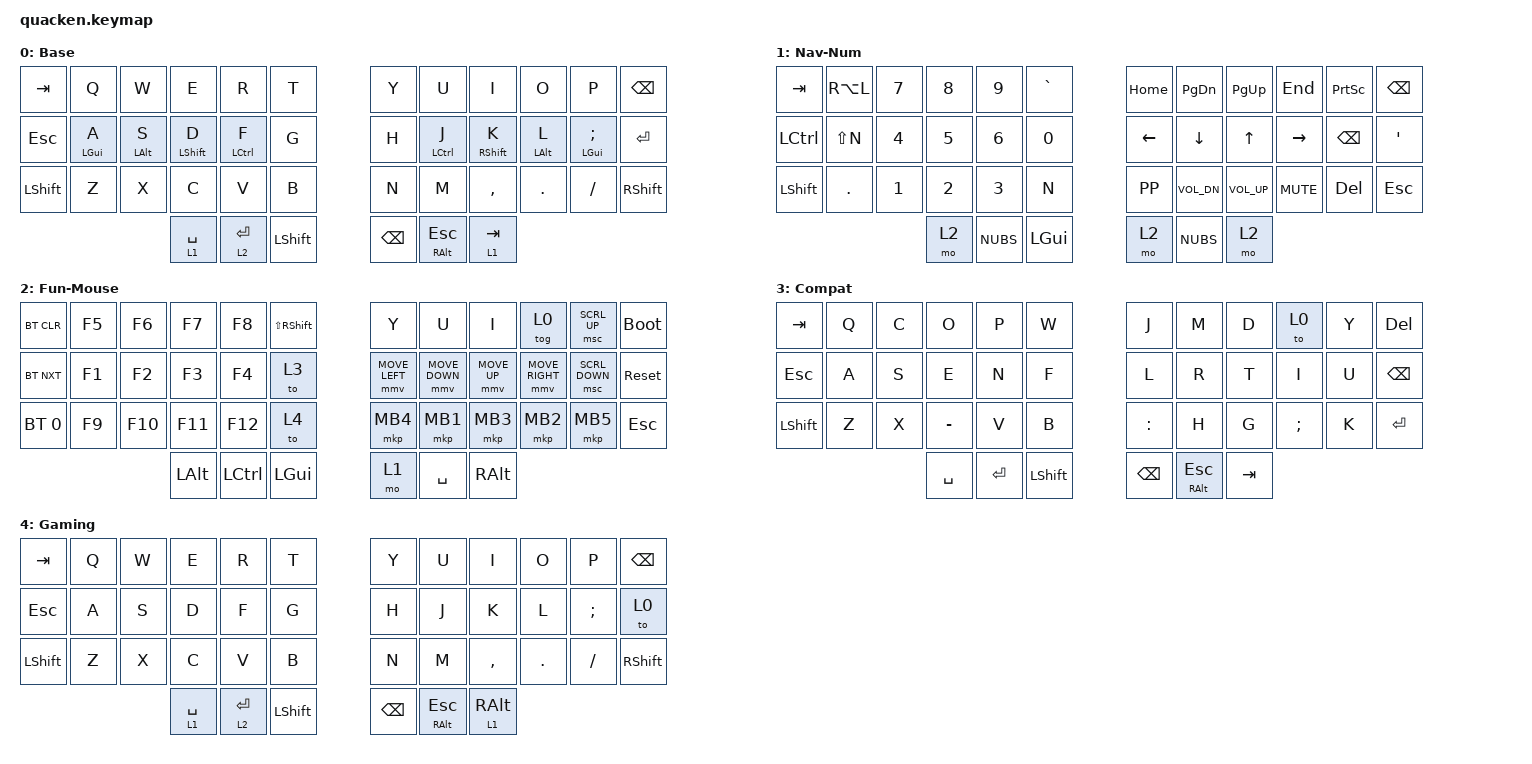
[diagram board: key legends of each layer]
#include <behaviors.dtsi>
#include <dt-bindings/zmk/keys.h>
#include <dt-bindings/zmk/bt.h>

/* Mouse Emulation */
#define ZMK_POINTING_DEFAULT_MOVE_VAL 2000  // default: 600
#define ZMK_POINTING_DEFAULT_SCRL_VAL 15    // default: 10
#include <dt-bindings/zmk/pointing.h>

#define TAPPING_TERM 135

/*  Homerow Mods */
#define HRM_A    &hrm LGUI A
#define HRM_S    &hrm LALT S
#define HRM_D    &hrm LSHIFT D
#define HRM_F    &hrm LCTRL F
#define HRM_J    &hrm LCTRL J
#define HRM_K    &hrm RSHIFT K
#define HRM_L    &hrm LALT L
#define HRM_SEMI &hrm LGUI SEMI

&mt {
    tapping-term-ms = <TAPPING_TERM>;
    quick-tap-ms = <TAPPING_TERM>;
};

&lt {
    tapping-term-ms = <TAPPING_TERM>;
    quick-tap-ms = <TAPPING_TERM>;
    flavor = "tap-preferred";
};

/ {
    behaviors {
        hrm: homerow_mods {
            compatible = "zmk,behavior-hold-tap";
            #binding-cells = <2>;
            tapping-term-ms = <TAPPING_TERM>;
            quick-tap-ms = <TAPPING_TERM>;
            flavor = "tap-preferred";
            bindings = <&kp>, <&kp>;
        };
    };

    keymap {
        compatible = "zmk,keymap";

        default_layer {
            display-name = "Base";
            bindings = <
                &kp TAB   &kp Q &kp W &kp E &kp R &kp T     &kp Y &kp U  &kp I     &kp O   &kp P    &kp BSPC
                &kp ESC   HRM_A HRM_S HRM_D HRM_F &kp G     &kp H HRM_J  HRM_K     HRM_L   HRM_SEMI &kp ENTER
                &kp LSHFT &kp Z &kp X &kp C &kp V &kp B     &kp N &kp M  &kp COMMA &kp DOT &kp FSLH &kp RSHIFT
                       &lt 1 SPACE &lt 2 ENTER &kp LSHFT    &kp BSPC &mt RALT ESC  &lt 1 TAB
            >;
        };

        nav_num {
            display-name = "Nav-Num";
            bindings = <
                &kp TAB   &kp RA(L) &kp N7 &kp N8 &kp N9 &kp GRAVE &kp HOME &kp PAGE_DOWN &kp PAGE_UP  &kp END    &kp PSCRN &kp BSPC
                &kp LCTRL &kp LS(N) &kp N4 &kp N5 &kp N6 &kp N0    &kp LEFT &kp DOWN      &kp UP       &kp RIGHT  &kp BSPC  &kp SQT
                &kp LSHFT &kp DOT   &kp N1 &kp N2 &kp N3 &kp N     &kp K_PP &kp K_VOL_DN  &kp K_VOL_UP &kp K_MUTE &kp DEL   &kp ESC
                                           &mo 2 &kp NUBS &kp LGUI &mo 2 &kp NUBS &mo 2
            >;
        };

        fun_mouse {
            display-name = "Fun-Mouse";
            bindings = <
                &bt BT_CLR  &kp F5 &kp F6  &kp F7  &kp F8  &kp LS(RSHIFT) &kp  Y         &kp  U         &kp  I       &tog 0          &msc SCRL_UP   &bootloader
                &bt BT_NXT   &kp F1 &kp F2  &kp F3  &kp F4  &to 3          &mmv MOVE_LEFT &mmv MOVE_DOWN &mmv MOVE_UP &mmv MOVE_RIGHT &msc SCRL_DOWN &sys_reset
                &bt BT_SEL 0  &kp F9 &kp F10 &kp F11 &kp F12 &to 4          &mkp MB4       &mkp MB1       &mkp MB3     &mkp MB2        &mkp MB5       &kp         ESC
                                     &kp LALT &kp LCTL &kp LGUI         &mo 1 &kp SPACE &kp RALT
            >;
        };

        compat {
            display-name = "Compat";
            bindings = <
                &kp TAB   &kp Q &kp C &kp O     &kp P &kp W   &kp J     &kp M &kp D &to 0         &kp Y &kp DEL
                &kp ESC   &kp A &kp S &kp E     &kp N &kp F   &kp L     &kp R &kp T &kp I         &kp U &kp BSPC
                &kp LSHFT &kp Z &kp X &kp MINUS &kp V &kp B   &kp COLON &kp H &kp G &kp SEMICOLON &kp K &kp ENTER
                             &kp SPACE &kp ENTER &kp LSHFT    &kp BSPC &mt RALT ESC  &kp TAB
            >;
        };

        gaming {
            display-name = "Gaming";
            bindings = <
                &kp TAB   &kp Q &kp W &kp E &kp R &kp T     &kp Y &kp U  &kp I     &kp O   &kp P    &kp BSPC
                &kp ESC   &kp A &kp S &kp D &kp F &kp G     &kp H &kp J  &kp K     &kp L   &kp SEMI &to 0
                &kp LSHFT &kp Z &kp X &kp C &kp V &kp B     &kp N &kp M  &kp COMMA &kp DOT &kp FSLH &kp RSHIFT
                       &lt 1 SPACE &lt 2 ENTER &kp LSHFT    &kp BSPC &mt RALT ESC  &lt 1 RALT
            >;
        };
    };
};
